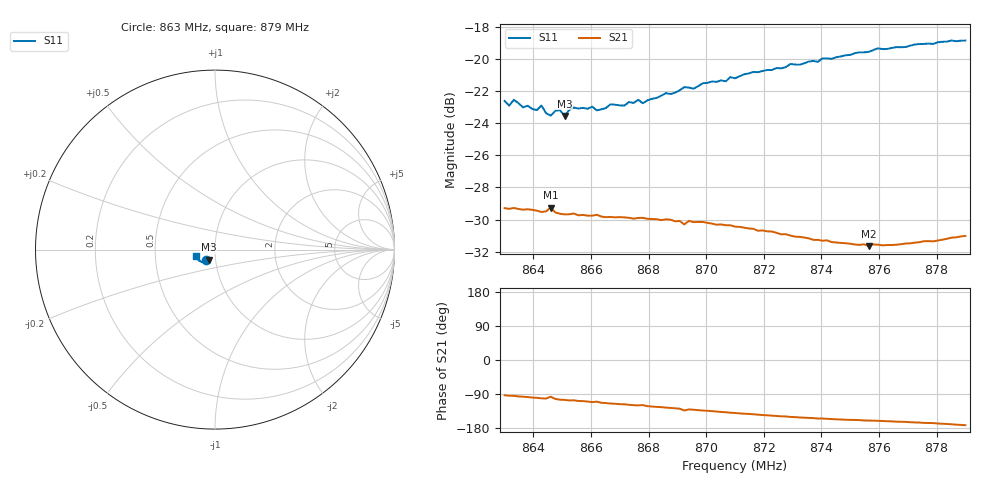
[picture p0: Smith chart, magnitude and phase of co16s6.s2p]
# HZ S RI R 50
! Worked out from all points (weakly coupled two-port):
!   101 points, 863 MHz to 879 MHz, reference 50 ohm
!   highest |S21| = -29.25 dB at 864.6 MHz (marker M1); lowest = -31.7 dB at 875.64 MHz (marker M2)
!   lowest |S11| = -23.6 dB at 865.08 MHz (marker M3), VSWR 1.14, Z = 46.4 - j5.27 ohm
!   |S11| at or under -10 dB: start of sweep to end of sweep
!   S12 and S22 are empty: the file has one direction only
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8.63e8  -0.0474 -0.0567  -0.00177 -0.0343  0 0  0 0
8.6316e8  -0.0447 -0.0557  -0.00256 -0.0341  0 0  0 0
8.6332e8  -0.0498 -0.0555  -0.00274 -0.0343  0 0  0 0
8.6364e8  -0.0441 -0.0551  -0.00404 -0.0337  0 0  0 0
8.6412e8  -0.0428 -0.0545  -0.00574 -0.0332  0 0  0 0
8.6428e8  -0.0416 -0.0583  -0.00646 -0.0328  0 0  0 0
8.646e8  -0.0328 -0.0579  -0.00413 -0.0342  0 0  0 0
8.6492e8  -0.0412 -0.0557  -0.00834 -0.0319  0 0  0 0
8.6508e8  -0.0348 -0.0565  -0.00866 -0.0317  0 0  0 0
8.654e8  -0.041 -0.0574  -0.00931 -0.0317  0 0  0 0
8.6572e8  -0.0372 -0.0598  -0.0104 -0.031  0 0  0 0
8.662e8  -0.035 -0.0596  -0.0111 -0.0308  0 0  0 0
8.6764e8  -0.0385 -0.0638  -0.0159 -0.0278  0 0  0 0
8.678e8  -0.0361 -0.0632  -0.0155 -0.028  0 0  0 0
8.6844e8  -0.0397 -0.0658  -0.0178 -0.026  0 0  0 0
8.6924e8  -0.0451 -0.068  -0.0209 -0.0223  0 0  0 0
8.694e8  -0.0427 -0.0693  -0.0203 -0.0239  0 0  0 0
8.71e8  -0.0503 -0.0709  -0.023 -0.0194  0 0  0 0
8.7372e8  -0.0683 -0.071  -0.0244 -0.0123  0 0  0 0
8.7564e8  -0.0838 -0.0633  -0.0245 -0.009  0 0  0 0
8.7644e8  -0.0905 -0.059  -0.0251 -0.00819  0 0  0 0
8.79e8  -0.1077 -0.0373  -0.0279 -0.00389  0 0  0 0
